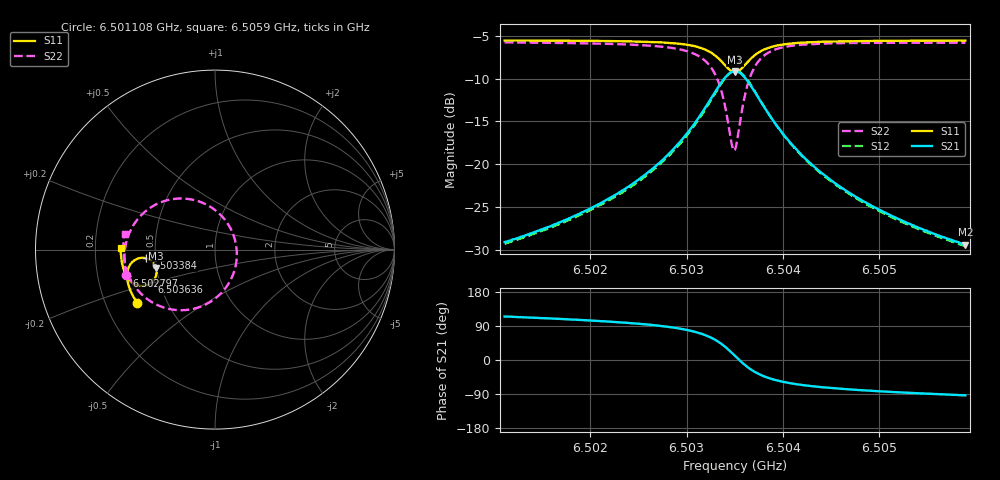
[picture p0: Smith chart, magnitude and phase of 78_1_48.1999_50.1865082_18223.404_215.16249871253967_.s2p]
#  HZ  S  RI  R  50.00
! Rohde & Schwarz Vector Network Analyzer
! Rohde-Schwarz,ZNB20-2Port,1311601062101988,3.16
! Created: UTC 3/20/2024, 11:39:33 AM
! freq[Hz]  re:S11  im:S11  re:S21  im:S21  re:S12  im:S12  re:S22  im:S22
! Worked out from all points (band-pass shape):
!   401 points, 6.501108 GHz to 6.5059 GHz, reference 50 ohm
!   highest |S21| = -9.17 dB at 6.503504 GHz (marker M1); lowest = -29.4 dB at 6.5059 GHz (marker M2)
!   |S21| within 3 dB of the highest: 6.503264 GHz to 6.503743 GHz (479 kHz wide, 0.00736 % of centre)
!   lowest |S11| = -9.3 dB at 6.503504 GHz (marker M3), VSWR 2.05, Z = 24.8 - j5.73 ohm
!   |S11| at or under -10 dB: nowhere
!   |S22| runs from -18.4 to -5.8 dB; largest |S21 - S12| = 0.012
!   S11 on the Smith chart (normalised r, x): 6.501108 GHz: 0.34, -0.28; 6.502797 GHz: 0.33, -0.13; 6.503384 GHz: 0.44, -0.05; 6.503636 GHz: 0.45, -0.20; 6.5059 GHz: 0.31, +0.01
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6.5011076e9  -0.4334 -0.2989  -0.0148 0.0321  -0.0131 0.032  -0.4942 -0.1388
6.5019103e9  -0.4668 -0.2381  -0.014 0.0506  -0.0114 0.0499  -0.5045 -0.0503
6.5023416e9  -0.4815 -0.1988  -0.0108 0.07  -0.00777 0.0689  -0.4999 0.0136
6.502713e9  -0.4895 -0.1563  -0.000945 0.1015  0.00292 0.0991  -0.4776 0.0918
6.5027969e9  -0.49 -0.1446  0.00421 0.1124  0.00787 0.1094  -0.4666 0.115
6.5030005e9  -0.4852 -0.1105  0.0275 0.1479  0.0311 0.1432  -0.418 0.1844
6.5031443e9  -0.4705 -0.0804  0.0661 0.1821  0.0688 0.1762  -0.3429 0.2442
6.5032881e9  -0.4313 -0.0507  0.1503 0.2112  0.1509 0.2048  -0.1891 0.2849
6.5033839e9  -0.3835 -0.0484  0.2442 0.1935  0.2444 0.1887  -0.0264 0.2388
6.5034678e9  -0.3396 -0.0789  0.3241 0.1162  0.3267 0.1117  0.101 0.086
6.5035037e9  -0.3287 -0.1017  0.3418 0.0659  0.3456 0.0601  0.1214 -0.00858
6.5035277e9  -0.3257 -0.1186  0.3451 0.0301  0.3491 0.0232  0.1182 -0.074
6.5035636e9  -0.328 -0.1432  0.337 -0.0212  0.3407 -0.0304  0.0891 -0.1651
6.5036355e9  -0.351 -0.1814  0.2886 -0.099  0.2884 -0.1111  -0.0252 -0.291
6.5036834e9  -0.3721 -0.1951  0.2471 -0.1283  0.2443 -0.1399  -0.1118 -0.3279
6.5037433e9  -0.3976 -0.202  0.199 -0.1449  0.1934 -0.155  -0.2068 -0.3372
6.5038991e9  -0.4459 -0.1926  0.1132 -0.1405  0.1057 -0.1458  -0.3614 -0.2867
6.5040668e9  -0.4742 -0.1712  0.0665 -0.1187  0.06 -0.121  -0.4363 -0.2185
6.5043064e9  -0.4954 -0.1414  0.0352 -0.0926  0.0303 -0.0932  -0.4812 -0.1436
6.5047138e9  -0.5126 -0.0981  0.014 -0.0657  0.0107 -0.0652  -0.5057 -0.0592
6.5051092e9  -0.5207 -0.061  0.00535 -0.0506  0.00299 -0.0498  -0.5109 -0.0014
6.5058999e9  -0.526 0.00682  -0.00196 -0.034  -0.00341 -0.0332  -0.5036 0.0852
